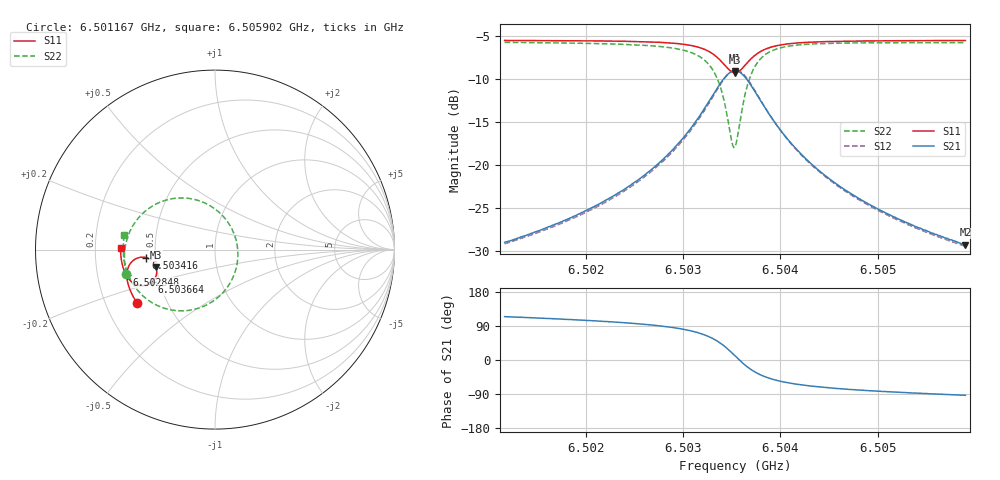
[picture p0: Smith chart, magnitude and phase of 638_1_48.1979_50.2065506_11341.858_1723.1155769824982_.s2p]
#  HZ  S  RI  R  50.00
! Rohde & Schwarz Vector Network Analyzer
! Rohde-Schwarz,ZNB20-2Port,1311601062101988,3.16
! Created: UTC 3/20/2024, 12:04:41 PM
! freq[Hz]  re:S11  im:S11  re:S21  im:S21  re:S12  im:S12  re:S22  im:S22
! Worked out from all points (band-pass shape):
!   401 points, 6.501167 GHz to 6.505902 GHz, reference 50 ohm
!   highest |S21| = -9.08 dB at 6.503534 GHz (marker M1); lowest = -29.3 dB at 6.505902 GHz (marker M2)
!   |S21| within 3 dB of the highest: 6.503298 GHz to 6.503772 GHz (473.7 kHz wide, 0.00728 % of centre)
!   lowest |S11| = -9.3 dB at 6.503534 GHz (marker M3), VSWR 2.04, Z = 24.9 - j5.57 ohm
!   |S11| at or under -10 dB: nowhere
!   |S22| runs from -18.0 to -5.8 dB; largest |S21 - S12| = 0.013
!   S11 on the Smith chart (normalised r, x): 6.501167 GHz: 0.34, -0.27; 6.502848 GHz: 0.33, -0.12; 6.503416 GHz: 0.44, -0.05; 6.503664 GHz: 0.46, -0.19; 6.505902 GHz: 0.31, +0.01
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6.5011665e9  -0.4366 -0.2948  -0.0147 0.0324  -0.013 0.0324  -0.4952 -0.1361
6.5019597e9  -0.4692 -0.2341  -0.0138 0.0511  -0.0112 0.0506  -0.505 -0.0483
6.5023859e9  -0.4834 -0.195  -0.0108 0.0707  -0.00742 0.0697  -0.5 0.0155
6.5027529e9  -0.491 -0.1526  -0.000496 0.1025  0.00344 0.1001  -0.4774 0.0938
6.5028476e9  -0.4912 -0.1391  0.00548 0.1152  0.00928 0.1121  -0.4646 0.1206
6.5030488e9  -0.4855 -0.1046  0.0302 0.1517  0.0341 0.1469  -0.4131 0.1914
6.5031909e9  -0.4689 -0.074  0.0717 0.1866  0.0747 0.1804  -0.3331 0.2516
6.5033211e9  -0.4315 -0.047  0.1516 0.213  0.1526 0.2064  -0.1878 0.2877
6.5034158e9  -0.3832 -0.0448  0.2461 0.1954  0.2467 0.1905  -0.0239 0.2425
6.5034987e9  -0.3387 -0.0757  0.3271 0.1178  0.3301 0.1132  0.1056 0.0896
6.5035342e9  -0.3274 -0.0987  0.3452 0.0672  0.3494 0.0613  0.1271 -0.00581
6.5035579e9  -0.3245 -0.1158  0.3486 0.0312  0.3533 0.0239  0.1245 -0.072
6.5035934e9  -0.3268 -0.1409  0.3409 -0.0207  0.3448 -0.0304  0.0959 -0.1644
6.5036644e9  -0.35 -0.1797  0.2921 -0.0999  0.2922 -0.1124  -0.019 -0.2926
6.5037118e9  -0.3714 -0.1938  0.2503 -0.1296  0.2475 -0.1419  -0.1065 -0.3307
6.503771e9  -0.3973 -0.2007  0.2017 -0.1466  0.1959 -0.1573  -0.2026 -0.3408
6.5039249e9  -0.4461 -0.1915  0.1145 -0.1421  0.1069 -0.1478  -0.3594 -0.2903
6.5040906e9  -0.4747 -0.1701  0.0674 -0.1202  0.0604 -0.1227  -0.4357 -0.2216
6.5043274e9  -0.496 -0.1403  0.0357 -0.0936  0.0305 -0.0944  -0.481 -0.1465
6.5046825e9  -0.5117 -0.1018  0.0157 -0.0689  0.0122 -0.0686  -0.5044 -0.0698
6.5051206e9  -0.521 -0.06  0.00548 -0.0512  0.00301 -0.0503  -0.5112 -0.00394
6.5059019e9  -0.5263 0.00708  -0.00185 -0.0344  -0.00334 -0.0336  -0.5045 0.0823
